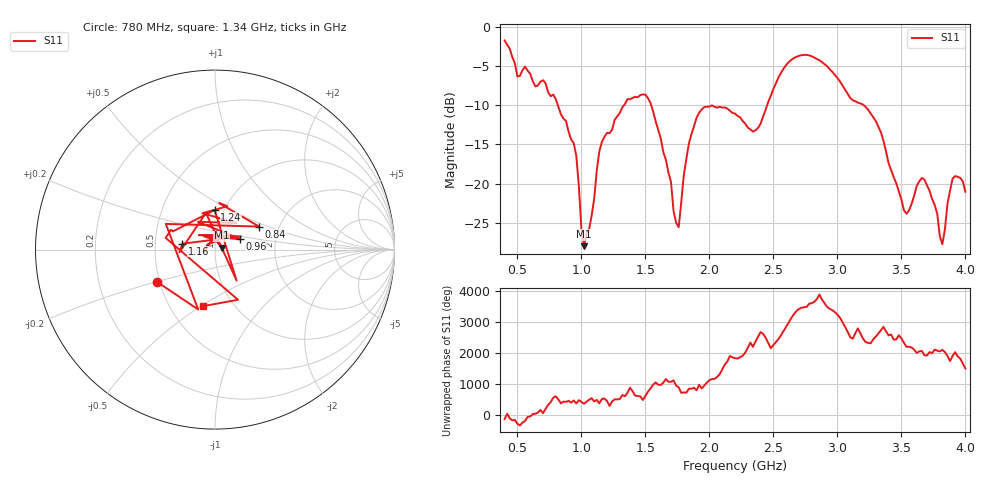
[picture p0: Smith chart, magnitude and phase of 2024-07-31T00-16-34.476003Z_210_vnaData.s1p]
!Created with skrf (http://scikit-rf.org).
# Hz S RI R 50.0
!freq ReS11 ImS11
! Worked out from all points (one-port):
!   181 points, 400 MHz to 4 GHz, reference 50 ohm
!   lowest |S11| = -28.0 dB at 1.02 GHz (marker M1), VSWR 1.08, Z = 54 + j1.1 ohm
!   |S11| at or under -10 dB: 816.1 MHz to 1.332 GHz (515.7 MHz wide, 48 % of centre); 1.546 GHz to 2.019 GHz (472.8 MHz wide, 26.5 % of centre); 3.208 GHz to end of sweep (the widest 3 of 4)
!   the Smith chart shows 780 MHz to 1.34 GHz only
!   S11 on the Smith chart (normalised r, x): 780 MHz: 0.48, -0.20; 840 MHz: 1.58, +0.44; 960 MHz: 1.31, +0.16; 1.16 GHz: 0.69, +0.05; 1.24 GHz: 0.90, +0.42; 1.34 GHz: 0.72, -0.51
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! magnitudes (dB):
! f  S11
! 400 MHz  -1.7
! 500 MHz  -6.3
! 560 MHz  -5.0
! 780 MHz  -8.6
! 840 MHz  -11.1
! 860 MHz  -11.7
! 960 MHz  -16.5
! 1.02 GHz  -28.0
! 1.08 GHz  -24.1
! 1.16 GHz  -14.7
! 1.24 GHz  -13.1
! 1.3 GHz  -11.0
! 1.34 GHz  -9.8
! 1.54 GHz  -9.7
! 1.76 GHz  -25.6
! 1.82 GHz  -16.8
! 1.9 GHz  -11.6
! 2.2 GHz  -11.0
! 2.38 GHz  -12.9
! 2.66 GHz  -3.9
! 2.86 GHz  -4.2
! 3.1 GHz  -9.0
! 3.3 GHz  -12.0
! 3.56 GHz  -23.4
! 3.68 GHz  -19.5
! 3.82 GHz  -27.8
! 3.9 GHz  -19.4
! 4 GHz  -21.1
